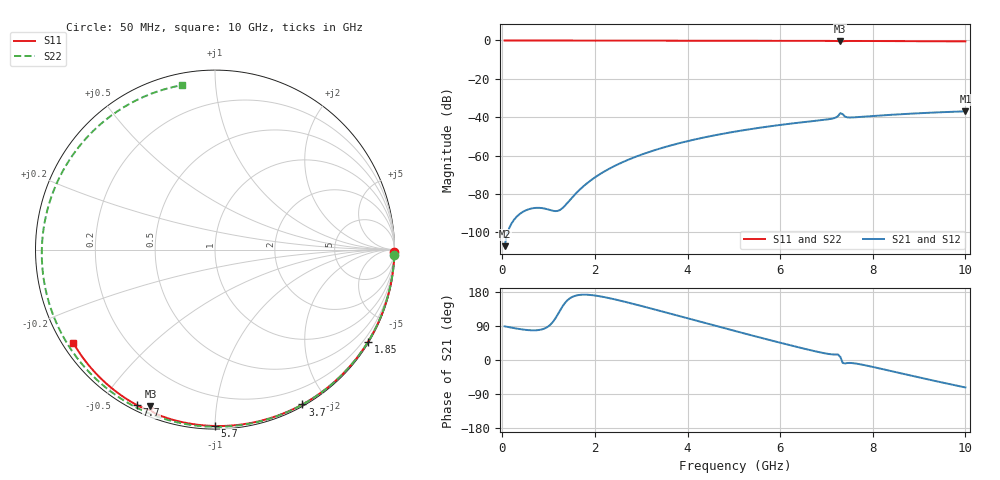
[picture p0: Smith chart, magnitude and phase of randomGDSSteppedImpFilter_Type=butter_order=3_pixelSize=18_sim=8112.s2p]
! freq	dB(S11)	phase(S11)	dB(S12)	phase(S12)
!  dB(S21)	phase(S21)	dB(S22)	phase(S22)
!S-par simulation data
#  GHz  S  DB  R 50
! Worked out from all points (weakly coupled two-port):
!   200 points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, 50 MHz to 10 GHz, reference 50 ohm
!   highest |S21| = -36.91 dB at 10 GHz (marker M1); lowest = -107.1 dB at 50 MHz (marker M2)
!   lowest |S11| = -0.5 dB at 7.3 GHz (marker M3), VSWR 33.71, Z = 2.15 - j33.4 ohm
!   |S11| at or under -10 dB: nowhere
!   |S22| runs from -0.6 to 0.0 dB; largest |S21 - S12| = 0
!   S11 on the Smith chart (normalised r, x): 50 MHz: open; 1.85 GHz: 0.03, -3.60; 3.7 GHz: 0.02, -1.71; 5.7 GHz: 0.02, -1.00; 7.7 GHz: 0.02, -0.62; 10 GHz: 0.03, -0.30
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0.05  -0.00 -0.9  -107.13 88.8  -107.13 88.8  -0.00 -1.6
0.75  -0.02 -12.7  -87.15 78.6  -87.15 78.6  -0.03 -23.8
1.55  -0.03 -26.1  -80.67 168.4  -80.67 168.4  -0.06 -48.4
1.75  -0.04 -29.4  -75.98 172.4  -75.98 172.4  -0.07 -54.3
1.85  -0.04 -31.1  -73.98 172.1  -73.98 172.1  -0.07 -57.3
2.15  -0.05 -36.0  -68.99 167.2  -68.99 167.2  -0.08 -66.0
2.5  -0.05 -41.6  -64.48 158.0  -64.48 158.0  -0.09 -75.8
2.9  -0.06 -48.0  -60.39 145.9  -60.39 145.9  -0.11 -86.7
3.4  -0.07 -55.9  -56.32 129.8  -56.32 129.8  -0.12 -99.9
3.7  -0.08 -60.5  -54.27 120.0  -54.27 120.0  -0.14 -107.5
4.35  -0.10 -70.4  -50.55 98.6  -50.55 98.6  -0.16 -123.5
5.05  -0.12 -80.7  -47.37 75.7  -47.37 75.7  -0.20 -139.9
5.7  -0.15 -89.9  -44.96 55.0  -44.96 55.0  -0.23 -154.8
6.7  -0.20 -103.8  -42.00 24.6  -42.00 24.6  -0.30 -177.4
7.15  -0.25 -110.3  -40.56 14.6  -40.56 14.6  -0.34 172.3
7.25  -0.34 -112.0  -39.37 14.4  -39.37 14.4  -0.35 170.0
7.3  -0.52 -112.4  -37.87 8.1  -37.87 8.1  -0.35 168.9
7.45  -0.28 -113.0  -40.04 -8.0  -40.04 -8.0  -0.36 165.4
7.7  -0.27 -116.7  -39.88 -10.7  -39.88 -10.7  -0.38 159.6
8.35  -0.32 -125.4  -38.79 -27.9  -38.79 -27.9  -0.44 144.1
9.25  -0.41 -137.1  -37.61 -52.7  -37.61 -52.7  -0.52 121.5
10  -0.49 -146.8  -36.91 -72.4  -36.91 -72.4  -0.59 101.5
